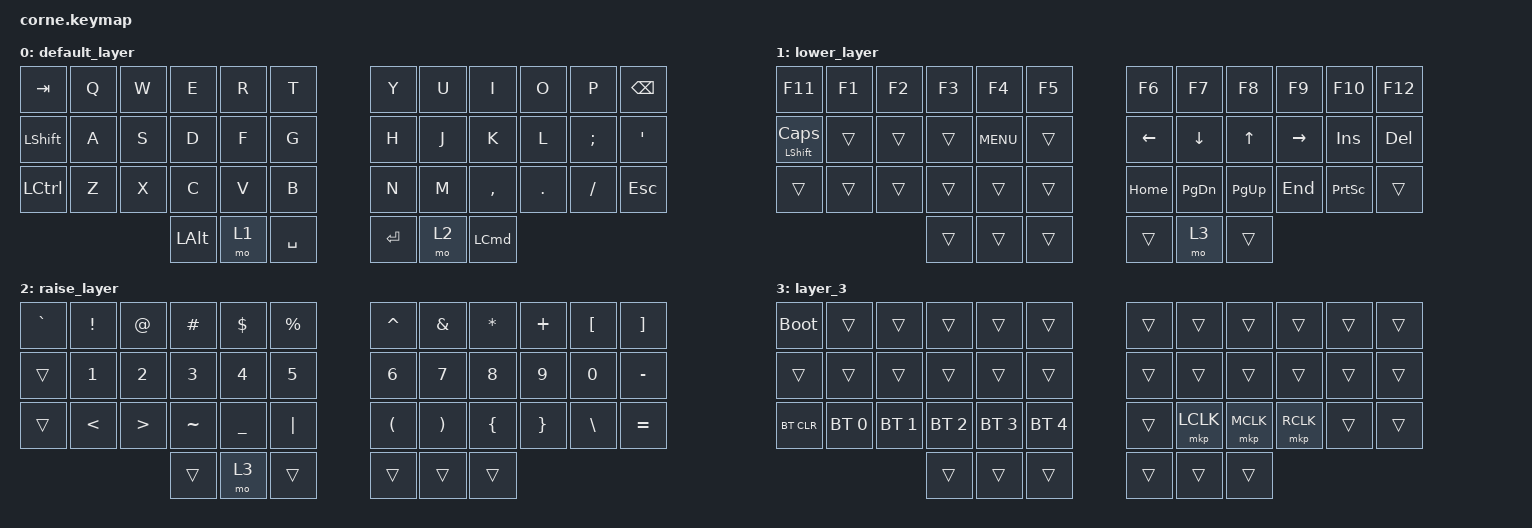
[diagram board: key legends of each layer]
/*
 * Copyright (c) 2020 The ZMK Contributors
 *
 * SPDX-License-Identifier: MIT
 */

#include <behaviors.dtsi>
#include <dt-bindings/zmk/bt.h>
#include <dt-bindings/zmk/keys.h>
#include <dt-bindings/zmk/mouse.h>

/ {
    combos {
        compatible = "zmk,combos";

        combo_esc {
            timeout-ms = <50>;
            key-positions = <0 1>;
            bindings = <&kp ESC>;
        };
    };

    behaviors {
        ss_hs_modmorph: ss_hs_modmorph {
            compatible = "zmk,behavior-mod-morph";
            label = "SS_HS_MODMORPH";
            bindings = <&kp M>, <&kp RIGHT_BRACKET>;

            #binding-cells = <0>;
            mods = <(MOD_LSFT|MOD_RSFT)>;
        };

        kh_hs_tapdance: kh_hs_tapdance {
            compatible = "zmk,behavior-tap-dance";
            label = "KH_HS_TAPDANCE";
            #binding-cells = <0>;
            tapping-term-ms = <200>;
            bindings = <&kp LEFT_BRACKET>, <&kp RIGHT_BRACKET>;
        };

        hrm: hrm {
            compatible = "zmk,behavior-hold-tap";
            #binding-cells = <2>;
            flavor = "tap-preferred";
            tapping-term-ms = <200>;
            quick-tap-ms = <200>;
            require-prior-idle-ms = <125>;
            bindings = <&kp>, <&kp>;
        };
    };

    keymap {
        compatible = "zmk,keymap";

        default_layer {
            // -----------------------------------------------------------------------------------------
            // |  TAB |  Q  |  W  |  E  |  R  |  T  |   |  Y  |  U   |  I  |  O  |  P  | BKSP |
            // | CTRL |  A  |  S  |  D  |  F  |  G  |   |  H  |  J   |  K  |  L  |  ;  |  '   |
            // | SHFT |  Z  |  X  |  C  |  V  |  B  |   |  N  |  M   |  ,  |  .  |  /  | ESC  |
            //                    | GUI | LWR | SPC |   | ENT | RSE  | ALT |

            bindings = <
&kp TAB    &kp Q  &kp W  &kp E         &kp R  &kp T        &kp Y    &kp U  &kp I      &kp O    &kp P     &kp BSPC
&kp LSHFT  &kp A  &kp S  &kp D         &kp F  &kp G        &kp H    &kp J  &kp K      &kp L    &kp SEMI  &kp SQT
&kp LCTRL  &kp Z  &kp X  &kp C         &kp V  &kp B        &kp N    &kp M  &kp COMMA  &kp DOT  &kp FSLH  &kp ESC
                         &kp LEFT_ALT  &mo 1  &kp SPACE    &kp RET  &mo 2  &kp LCMD
            >;
        };

        lower_layer {
            // -----------------------------------------------------------------------------------------
            // |  TAB |  1  |  2  |  3  |  4  |  5  |   |  6  |  7  |  8  |  9  |  0  | BKSP |
            // | BTCLR| BT1 | BT2 | BT3 | BT4 | BT5 |   | LFT | DWN |  UP | RGT |     |      |
            // | SHFT |     |     |     |     |     |   |     |     |     |     |     |      |
            //                    | GUI |     | SPC |   | ENT |     | ALT |

            bindings = <
&kp F11             &kp F1  &kp F2  &kp F3  &kp F4      &kp F5    &kp F6    &kp F7         &kp F8       &kp F9     &kp F10    &kp F12
&mt LSHFT CAPSLOCK  &trans  &trans  &trans  &kp C_MENU  &trans    &kp LEFT  &kp DOWN       &kp UP       &kp RIGHT  &kp INS    &kp DELETE
&trans              &trans  &trans  &trans  &trans      &trans    &kp HOME  &kp PAGE_DOWN  &kp PAGE_UP  &kp END    &kp PSCRN  &trans
                                    &trans  &trans      &trans    &trans    &mo 3          &trans
            >;
        };

        raise_layer {
            // -----------------------------------------------------------------------------------------
            // |  TAB |  !  |  @  |  #  |  $  |  %  |   |  ^  |  &  |  *  |  (  |  )  | BKSP |
            // | CTRL |     |     |     |     |     |   |  -  |  =  |  [  |  ]  |  \  |  `   |
            // | SHFT |     |     |     |     |     |   |  _  |  +  |  {  |  }  | "|" |  ~   |
            //                    | GUI |     | SPC |   | ENT |     | ALT |

            bindings = <
&kp GRAVE  &kp EXCL       &kp AT            &kp HASH      &kp DLLR        &kp PRCNT    &kp CARET             &kp AMPS               &kp ASTRK  &kp PLUS  &kp LEFT_BRACKET  &kp RIGHT_BRACKET
&trans     &kp NUMBER_1   &kp NUMBER_2      &kp NUMBER_3  &kp NUMBER_4    &kp N5       &kp NUMBER_6          &kp N7                 &kp N8     &kp N9    &kp N0            &kp MINUS
&trans     &kp LESS_THAN  &kp GREATER_THAN  &kp TILDE     &kp UNDERSCORE  &kp PIPE     &kp LEFT_PARENTHESIS  &kp RIGHT_PARENTHESIS  &kp LBRC   &kp RBRC  &kp BACKSLASH     &kp EQUAL
                                            &trans        &mo 3           &trans       &trans                &trans                 &trans
            >;
        };

        layer_3 {
            bindings = <
&bootloader  &trans        &trans        &trans        &trans        &trans          &trans  &trans     &trans     &trans     &trans  &trans
&trans       &trans        &trans        &trans        &trans        &trans          &trans  &trans     &trans     &trans     &trans  &trans
&bt BT_CLR   &bt BT_SEL 0  &bt BT_SEL 1  &bt BT_SEL 2  &bt BT_SEL 3  &bt BT_SEL 4    &trans  &mkp LCLK  &mkp MCLK  &mkp RCLK  &trans  &trans
                                         &trans        &trans        &trans          &trans  &trans     &trans
            >;
        };
    };
};
